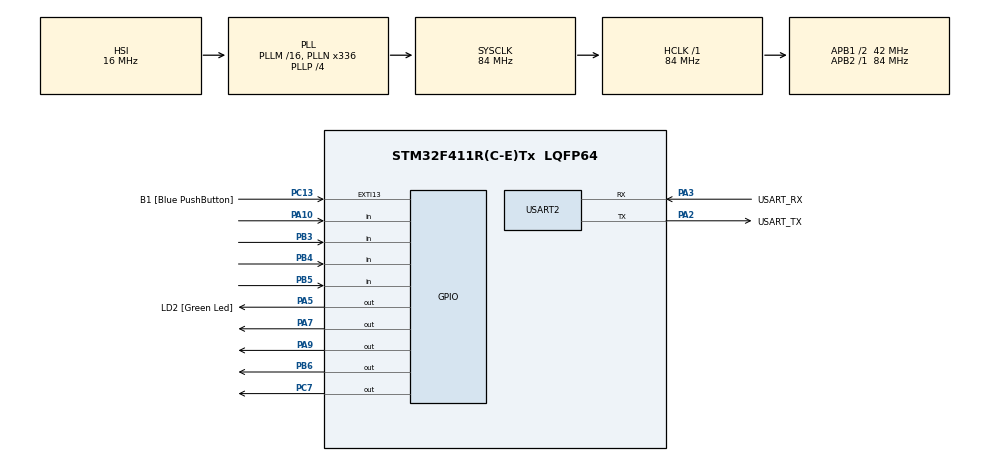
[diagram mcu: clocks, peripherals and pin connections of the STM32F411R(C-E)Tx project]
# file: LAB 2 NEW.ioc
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Mcu.Family=STM32F4
Mcu.Name=STM32F411R(C-E)Tx
Mcu.Package=LQFP64
NVIC.PriorityGroup=NVIC_PRIORITYGROUP_0
PA10.GPIO_PuPd=GPIO_PULLUP
PA10.Signal=GPIO_Input
PA13.GPIO_Label=TMS
PA13.Mode=Serial_Wire
PA13.Signal=SYS_JTMS-SWDIO
PA14.GPIO_Label=TCK
PA14.Mode=Serial_Wire
PA14.Signal=SYS_JTCK-SWCLK
PA2.GPIO_Label=USART_TX
PA2.Mode=Asynchronous
PA2.Signal=USART2_TX
PA3.GPIO_Label=USART_RX
PA3.Mode=Asynchronous
PA3.Signal=USART2_RX
PA5.GPIO_Label=LD2 [Green Led]
PA5.Signal=GPIO_Output
PA7.GPIO_ModeDefaultOutputPP=GPIO_MODE_OUTPUT_OD
PA7.GPIO_PuPd=GPIO_NOPULL
PA7.PinState=GPIO_PIN_SET
PA7.Signal=GPIO_Output
PA9.GPIO_ModeDefaultOutputPP=GPIO_MODE_OUTPUT_OD
PA9.PinState=GPIO_PIN_SET
PA9.Signal=GPIO_Output
PB3.GPIO_PuPd=GPIO_PULLUP
PB3.Signal=GPIO_Input
PB4.GPIO_PuPd=GPIO_PULLUP
PB4.Signal=GPIO_Input
PB5.GPIO_PuPd=GPIO_PULLUP
PB5.Signal=GPIO_Input
PB6.GPIO_ModeDefaultOutputPP=GPIO_MODE_OUTPUT_OD
PB6.PinState=GPIO_PIN_SET
PB6.Signal=GPIO_Output
PC13-ANTI_TAMP.GPIO_Label=B1 [Blue PushButton]
PC13-ANTI_TAMP.GPIO_ModeDefaultEXTI=GPIO_MODE_IT_FALLING
PC13-ANTI_TAMP.Signal=GPXTI13
PC14-OSC32_IN.Mode=LSE-External-Oscillator
PC14-OSC32_IN.Signal=RCC_OSC32_IN
PC15-OSC32_OUT.Mode=LSE-External-Oscillator
PC15-OSC32_OUT.Signal=RCC_OSC32_OUT
PC7.GPIO_ModeDefaultOutputPP=GPIO_MODE_OUTPUT_OD
PC7.PinState=GPIO_PIN_SET
PC7.Signal=GPIO_Output
PH0\ -\ OSC_IN.Mode=HSE-External-Clock-Source
PH0\ -\ OSC_IN.Signal=RCC_OSC_IN
PH1\ -\ OSC_OUT.Mode=HSE-External-Clock-Source
PH1\ -\ OSC_OUT.Signal=RCC_OSC_OUT
ProjectManager.HeapSize=0x200
ProjectManager.StackSize=0x400
ProjectManager.TargetToolchain=STM32CubeIDE
RCC.48MHZClocksFreq_Value=84000000
RCC.AHBFreq_Value=84000000
RCC.APB1CLKDivider=RCC_HCLK_DIV2
RCC.APB1Freq_Value=42000000
RCC.APB1TimFreq_Value=84000000
RCC.APB2Freq_Value=84000000
RCC.APB2TimFreq_Value=84000000
RCC.CortexFreq_Value=84000000
RCC.FLatency-AdvancedSettings=FLASH_LATENCY_2
RCC.HCLKFreq_Value=84000000
RCC.HSE_VALUE=8000000
RCC.HSI_VALUE=16000000
RCC.PLLN=336
RCC.PLLP=RCC_PLLP_DIV4
RCC.SYSCLKFreq_VALUE=84000000
RCC.SYSCLKSource=RCC_SYSCLKSOURCE_PLLCLK
RCC.VCOOutputFreq_Value=336000000
USART2.VirtualMode=VM_ASYNC
board=NUCLEO-F411RE

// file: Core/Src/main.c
/* USER CODE BEGIN Header */
/**
  ******************************************************************************
  * @file           : main.c
  * @brief          : Main program body
  ******************************************************************************
  * @attention
  *
  * <h2><center>&copy; Copyright (c) 2021 STMicroelectronics.
  * All rights reserved.</center></h2>
  *
  * This software component is licensed by ST under BSD 3-Clause license,
  * the "License"; You may not use this file except in compliance with the
  * License. You may obtain a copy of the License at:
  *                        opensource.org/licenses/BSD-3-Clause
  *
  ******************************************************************************
  */
/* USER CODE END Header */
#include "main.h"

UART_HandleTypeDef huart2;

/* USER CODE BEGIN PV */

// save status of Button Matrix
uint16_t ButtonMatrixState = 0;

//Button TimeStamp
uint32_t ButtonMatrixTimeStamp = 0;

GPIO_TypeDef *Pass[11] = {0,0,0,0,0,0,0,0,0,0,0} ;
uint8_t count = 0;
uint8_t clear = 0;
uint8_t OK = 0;
uint8_t num = 0;
uint32_t timepress = 0;
uint8_t LED = 0;
/* USER CODE END PV */

void SystemClock_Config(void);
static void MX_GPIO_Init(void);
static void MX_USART2_UART_Init(void);
/* USER CODE BEGIN PFP */

//scan and update data of Button Matrix
void ButtonMatrixUpdate();

/* USER CODE END PFP */

int main(void)
{

  /* MCU Configuration--------------------------------------------------------*/

  /* Reset of all peripherals, Initializes the Flash interface and the Systick. */
  HAL_Init();

  /* Configure the system clock */
  SystemClock_Config();

  /* Initialize all configured peripherals */
  MX_GPIO_Init();
  MX_USART2_UART_Init();

  /* Infinite loop */
  while (1)
  {

    /* USER CODE BEGIN 3 */
	  ButtonMatrixUpdate();
	  if (HAL_GetTick() - timepress >= 350)
	  {
		  if (ButtonMatrixState == 1)		//1 >> K1 >> 7
		  {
			  Pass[count] = 7;
			  num = 7;
			  count += 1;
			  timepress = HAL_GetTick();
		  }
		  if (ButtonMatrixState == 2)		//2 >> K2 >> 8
		  {
			  Pass[count] = 8;
			  num = 8;
			  count += 1;
			  timepress = HAL_GetTick();
		  }
		  if (ButtonMatrixState == 4)		//4 >> K3 >> 9
		  {
			  Pass[count] = 9;
			  num = 9;
			  count += 1;
			  timepress = HAL_GetTick();
		  }
		  if (ButtonMatrixState == 16)		//16 >> K5 >> 4
		  {
			  Pass[count] = 4;
			  num = 4;
			  count += 1;
			  timepress = HAL_GetTick();
		  }
		  if (ButtonMatrixState == 32)		//32 >> K6 >> 5
		  {
			  Pass[count] = 5;
			  num = 5;
			  count += 1;
			  timepress = HAL_GetTick();
		  }
		  if (ButtonMatrixState == 64)		//64 >> K7 >> 6
		  {
			  Pass[count] = 6;
			  num = 6;
			  count += 1;
			  timepress = HAL_GetTick();
		  }
		  if (ButtonMatrixState == 256)		//256 >> K9 >> 1
		  {
			  Pass[count] = 1;
			  num = 1;
			  count += 1;
			  timepress = HAL_GetTick();
		  }
		  if (ButtonMatrixState == 512)		//512 >> K10 >> 2
		  {
			  Pass[count] = 2;
			  num = 2;
			  count += 1;
			  timepress = HAL_GetTick();
		  }
		  if (ButtonMatrixState == 1024)	//1024 >> K11 >> 3
		  {
			  Pass[count] = 3;
			  num = 3;
			  count += 1;
			  timepress = HAL_GetTick();
		  }
		  if (ButtonMatrixState == 4096)	//4096 >> K13 >> 0
		  {
			  Pass[count] = 0;
			  num = 0;
			  count += 1;
			  timepress = HAL_GetTick();
		  }
		  if (ButtonMatrixState == 8)		//8 >> K4 >> CLEAR
		  {
			  clear = 1;
			  count = 0;
			  timepress = HAL_GetTick();
		  }
		  if (ButtonMatrixState == 32768)	//32768 >> K16 >> OK
		  {
			  OK = 1;
			  timepress = HAL_GetTick();
		  }
		  if (clear == 1)					// CLEAR press
		  {
			  Pass[10] = 0;
			  Pass[9] = 0;
			  Pass[8] = 0;
			  Pass[7] = 0;
			  Pass[6] = 0;
			  Pass[5] = 0;
			  Pass[4] = 0;
			  Pass[3] = 0;
			  Pass[2] = 0;
			  Pass[1] = 0;
			  Pass[0] = 0;
			  count = 0;
			  clear = 0;
			  LED =0;
		  }
		  if (LED == 1)
		  {
			  HAL_GPIO_WritePin(GPIOA, GPIO_PIN_5, GPIO_PIN_SET);
		  }
		  if (LED ==0)
		  {
			  HAL_GPIO_WritePin(GPIOA, GPIO_PIN_5, GPIO_PIN_RESET);
		  }
		  if (OK == 1)						// OK press
		  {
			if (Pass[0] == 6 && Pass[1] == 2 && Pass[2] == 3 && Pass[3] == 4)
				{
					if (Pass[4] == 0 && Pass[5] == 5 && Pass[6] == 0 && Pass[7] == 0)
					{
						if (Pass[8] == 0 && Pass[9] == 0 && Pass[10] == 3)	// Correct Password >> LED ON
						{
							LED = 1;
							count = 0;
							OK = 0;
							clear = 0;
							Pass[10] = 0;
							Pass[9] = 0;
							Pass[8] = 0;
							Pass[7] = 0;
							Pass[6] = 0;
							Pass[5] = 0;
							Pass[4] = 0;
							Pass[3] = 0;
							Pass[2] = 0;
							Pass[1] = 0;
							Pass[0] = 0;
						}
					}
				}

			else							// Incorrect Password >> Restart
			{
				LED = 0;
				count = 0;
				OK = 0;
				clear = 0;
				num = 0;
				Pass[10] = 0;
				Pass[9] = 0;
				Pass[8] = 0;
				Pass[7] = 0;
				Pass[6] = 0;
				Pass[5] = 0;
				Pass[4] = 0;
				Pass[3] = 0;
				Pass[2] = 0;
				Pass[1] = 0;
				Pass[0] = 0;
			}
		  }
	  }

}
  /* USER CODE END 3 */
}

void SystemClock_Config(void)
{
  RCC_OscInitTypeDef RCC_OscInitStruct = {0};
  RCC_ClkInitTypeDef RCC_ClkInitStruct = {0};

  /** Configure the main internal regulator output voltage
  */
  __HAL_RCC_PWR_CLK_ENABLE();
  __HAL_PWR_VOLTAGESCALING_CONFIG(PWR_REGULATOR_VOLTAGE_SCALE1);
  /** Initializes the RCC Oscillators according to the specified parameters
  * in the RCC_OscInitTypeDef structure.
  */
  RCC_OscInitStruct.OscillatorType = RCC_OSCILLATORTYPE_HSI;
  RCC_OscInitStruct.HSIState = RCC_HSI_ON;
  RCC_OscInitStruct.HSICalibrationValue = RCC_HSICALIBRATION_DEFAULT;
  RCC_OscInitStruct.PLL.PLLState = RCC_PLL_ON;
  RCC_OscInitStruct.PLL.PLLSource = RCC_PLLSOURCE_HSI;
  RCC_OscInitStruct.PLL.PLLM = 16;
  RCC_OscInitStruct.PLL.PLLN = 336;
  RCC_OscInitStruct.PLL.PLLP = RCC_PLLP_DIV4;
  RCC_OscInitStruct.PLL.PLLQ = 4;
  if (HAL_RCC_OscConfig(&RCC_OscInitStruct) != HAL_OK)
  {
    Error_Handler();
  }
  /** Initializes the CPU, AHB and APB buses clocks
  */
  RCC_ClkInitStruct.ClockType = RCC_CLOCKTYPE_HCLK|RCC_CLOCKTYPE_SYSCLK
                              |RCC_CLOCKTYPE_PCLK1|RCC_CLOCKTYPE_PCLK2;
  RCC_ClkInitStruct.SYSCLKSource = RCC_SYSCLKSOURCE_PLLCLK;
  RCC_ClkInitStruct.AHBCLKDivider = RCC_SYSCLK_DIV1;
  RCC_ClkInitStruct.APB1CLKDivider = RCC_HCLK_DIV2;
  RCC_ClkInitStruct.APB2CLKDivider = RCC_HCLK_DIV1;

  if (HAL_RCC_ClockConfig(&RCC_ClkInitStruct, FLASH_LATENCY_2) != HAL_OK)
  {
    Error_Handler();
  }
}

static void MX_USART2_UART_Init(void)
{

  huart2.Instance = USART2;
  huart2.Init.BaudRate = 115200;
  huart2.Init.WordLength = UART_WORDLENGTH_8B;
  huart2.Init.StopBits = UART_STOPBITS_1;
  huart2.Init.Parity = UART_PARITY_NONE;
  huart2.Init.Mode = UART_MODE_TX_RX;
  huart2.Init.HwFlowCtl = UART_HWCONTROL_NONE;
  huart2.Init.OverSampling = UART_OVERSAMPLING_16;
  if (HAL_UART_Init(&huart2) != HAL_OK)
  {
    Error_Handler();
  }

}

static void MX_GPIO_Init(void)
{
  GPIO_InitTypeDef GPIO_InitStruct = {0};

  /* GPIO Ports Clock Enable */
  __HAL_RCC_GPIOC_CLK_ENABLE();
  __HAL_RCC_GPIOH_CLK_ENABLE();
  __HAL_RCC_GPIOA_CLK_ENABLE();
  __HAL_RCC_GPIOB_CLK_ENABLE();

  /*Configure GPIO pin Output Level */
  HAL_GPIO_WritePin(LD2_GPIO_Port, LD2_Pin, GPIO_PIN_RESET);

  /*Configure GPIO pin Output Level */
  HAL_GPIO_WritePin(GPIOA, GPIO_PIN_7|GPIO_PIN_9, GPIO_PIN_SET);

  /*Configure GPIO pin Output Level */
  HAL_GPIO_WritePin(GPIOC, GPIO_PIN_7, GPIO_PIN_SET);

  /*Configure GPIO pin Output Level */
  HAL_GPIO_WritePin(GPIOB, GPIO_PIN_6, GPIO_PIN_SET);

  /*Configure GPIO pin : B1_Pin */
  GPIO_InitStruct.Pin = B1_Pin;
  GPIO_InitStruct.Mode = GPIO_MODE_IT_FALLING;
  GPIO_InitStruct.Pull = GPIO_NOPULL;
  HAL_GPIO_Init(B1_GPIO_Port, &GPIO_InitStruct);

  /*Configure GPIO pin : LD2_Pin */
  GPIO_InitStruct.Pin = LD2_Pin;
  GPIO_InitStruct.Mode = GPIO_MODE_OUTPUT_PP;
  GPIO_InitStruct.Pull = GPIO_NOPULL;
  GPIO_InitStruct.Speed = GPIO_SPEED_FREQ_LOW;
  HAL_GPIO_Init(LD2_GPIO_Port, &GPIO_InitStruct);

  /*Configure GPIO pins : PA7 PA9 */
  GPIO_InitStruct.Pin = GPIO_PIN_7|GPIO_PIN_9;
  GPIO_InitStruct.Mode = GPIO_MODE_OUTPUT_OD;
  GPIO_InitStruct.Pull = GPIO_NOPULL;
  GPIO_InitStruct.Speed = GPIO_SPEED_FREQ_LOW;
  HAL_GPIO_Init(GPIOA, &GPIO_InitStruct);

  /*Configure GPIO pin : PC7 */
  GPIO_InitStruct.Pin = GPIO_PIN_7;
  GPIO_InitStruct.Mode = GPIO_MODE_OUTPUT_OD;
  GPIO_InitStruct.Pull = GPIO_NOPULL;
  GPIO_InitStruct.Speed = GPIO_SPEED_FREQ_LOW;
  HAL_GPIO_Init(GPIOC, &GPIO_InitStruct);

  /*Configure GPIO pin : PA10 */
  GPIO_InitStruct.Pin = GPIO_PIN_10;
  GPIO_InitStruct.Mode = GPIO_MODE_INPUT;
  GPIO_InitStruct.Pull = GPIO_PULLUP;
  HAL_GPIO_Init(GPIOA, &GPIO_InitStruct);

  /*Configure GPIO pins : PB3 PB4 PB5 */
  GPIO_InitStruct.Pin = GPIO_PIN_3|GPIO_PIN_4|GPIO_PIN_5;
  GPIO_InitStruct.Mode = GPIO_MODE_INPUT;
  GPIO_InitStruct.Pull = GPIO_PULLUP;
  HAL_GPIO_Init(GPIOB, &GPIO_InitStruct);

  /*Configure GPIO pin : PB6 */
  GPIO_InitStruct.Pin = GPIO_PIN_6;
  GPIO_InitStruct.Mode = GPIO_MODE_OUTPUT_OD;
  GPIO_InitStruct.Pull = GPIO_NOPULL;
  GPIO_InitStruct.Speed = GPIO_SPEED_FREQ_LOW;
  HAL_GPIO_Init(GPIOB, &GPIO_InitStruct);

}

/* USER CODE BEGIN 4 */
//port/pin array , 0-3 input , 4-7 output
GPIO_TypeDef *ButtonMatrixPort[8] = {GPIOA,GPIOB,GPIOB,GPIOB,GPIOA,GPIOC,GPIOB,GPIOA};
uint16_t ButtonMatrixPin[8] = {GPIO_PIN_10,GPIO_PIN_3,GPIO_PIN_5,GPIO_PIN_4,GPIO_PIN_9,GPIO_PIN_7,GPIO_PIN_6,GPIO_PIN_7};
uint8_t ButtonMatrixRow = 0;	//What ROW now
void ButtonMatrixUpdate()
{
	if(HAL_GetTick() - ButtonMatrixTimeStamp >= 50)
	{
		ButtonMatrixTimeStamp = HAL_GetTick();
		int i;
		for(i = 0; i < 4; i++)	//0-3
		{
			GPIO_PinState PinState = HAL_GPIO_ReadPin(ButtonMatrixPort[i], ButtonMatrixPin[i]);
			if(PinState == GPIO_PIN_RESET) // Button Press
			{
				ButtonMatrixState |= (uint16_t)0x1 << (i + ButtonMatrixRow * 4);	// 0x1 == 1  : ButtonMatrixState = (uint16_t)1 <<i;
																					//0b000 | 0b1000
			}
			else
			{
				ButtonMatrixState &= ~((uint16_t)0x1 << (i + ButtonMatrixRow * 4));	//0b000 & ~(0b1000)
			}
		}
		uint8_t NowOutputPin = ButtonMatrixRow + 4;
		//Set Rn
		HAL_GPIO_WritePin(ButtonMatrixPort[NowOutputPin], ButtonMatrixPin[NowOutputPin], GPIO_PIN_SET);
		//Update New ROW
		ButtonMatrixRow = (ButtonMatrixRow + 1) % 4;
		uint8_t NextOutputPin = ButtonMatrixRow + 4;
		//Reset Rn + 1
		HAL_GPIO_WritePin(ButtonMatrixPort[NextOutputPin], ButtonMatrixPin[NextOutputPin], GPIO_PIN_RESET);
	}
}
/* USER CODE END 4 */

void Error_Handler(void)
{
  __disable_irq();
  while (1)
  {
  }
}

/************************ (C) COPYRIGHT STMicroelectronics *****END OF FILE****/
